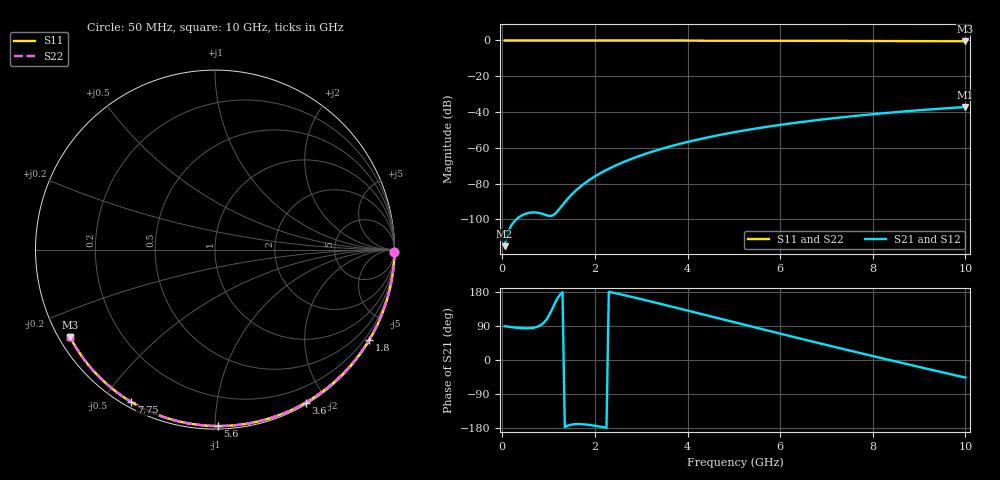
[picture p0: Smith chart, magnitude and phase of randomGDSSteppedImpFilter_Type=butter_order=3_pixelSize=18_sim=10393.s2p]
! freq	dB(S11)	phase(S11)	dB(S12)	phase(S12)
!  dB(S21)	phase(S21)	dB(S22)	phase(S22)
!S-par simulation data
#  GHz  S  DB  R 50
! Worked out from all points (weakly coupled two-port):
!   200 points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, 50 MHz to 10 GHz, reference 50 ohm
!   highest |S21| = -37.20 dB at 10 GHz (marker M1); lowest = -115.0 dB at 50 MHz (marker M2)
!   lowest |S11| = -0.5 dB at 10 GHz (marker M3), VSWR 34.40, Z = 1.57 - j14 ohm
!   |S11| at or under -10 dB: nowhere
!   |S22| runs from -0.5 to 0.0 dB; largest |S21 - S12| = 0
!   S11 on the Smith chart (normalised r, x): 50 MHz: open; 1.8 GHz: 0.03, -3.68; 3.6 GHz: 0.02, -1.76; 5.6 GHz: 0.02, -1.01; 7.75 GHz: 0.02, -0.59; 10 GHz: 0.03, -0.28
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0.05  -0.00 -0.9  -114.98 89.1  -114.98 89.1  -0.00 -0.9
0.45  -0.01 -7.7  -97.41 83.7  -97.41 83.7  -0.01 -7.7
0.9  -0.02 -15.4  -97.22 99.0  -97.22 99.0  -0.02 -15.4
1.3  -0.03 -22.1  -91.99 178.8  -91.99 178.8  -0.03 -22.1
1.75  -0.04 -29.6  -80.39 -169.7  -80.39 -169.7  -0.04 -29.6
1.8  -0.04 -30.4  -79.42 -170.2  -79.42 -170.2  -0.04 -30.4
1.95  -0.04 -32.9  -76.78 -172.5  -76.78 -172.5  -0.04 -32.9
2.1  -0.05 -35.4  -74.46 -175.5  -74.46 -175.5  -0.05 -35.4
2.3  -0.05 -38.6  -71.70 179.8  -71.70 179.8  -0.05 -38.6
2.5  -0.05 -41.9  -69.27 174.7  -69.27 174.7  -0.05 -41.9
2.9  -0.06 -48.3  -65.11 163.5  -65.11 163.5  -0.06 -48.3
3.4  -0.07 -56.2  -60.87 148.7  -60.87 148.7  -0.07 -56.2
3.6  -0.08 -59.3  -59.39 142.7  -59.39 142.7  -0.08 -59.3
4.3  -0.10 -70.1  -54.93 121.3  -54.93 121.3  -0.10 -70.1
5.05  -0.12 -81.2  -51.09 98.4  -51.09 98.4  -0.12 -81.2
5.6  -0.15 -89.1  -48.72 81.6  -48.72 81.6  -0.15 -89.1
6.15  -0.17 -96.9  -46.64 65.0  -46.64 65.0  -0.17 -96.9
6.7  -0.20 -104.6  -44.80 48.6  -44.80 48.6  -0.20 -104.5
7.75  -0.28 -118.8  -41.83 17.6  -41.83 17.6  -0.28 -118.8
8.35  -0.33 -126.8  -40.39 0.3  -40.39 0.3  -0.33 -126.8
9.2  -0.41 -138.1  -38.62 -24.0  -38.62 -24.0  -0.41 -138.1
10  -0.51 -148.8  -37.20 -46.4  -37.20 -46.4  -0.50 -148.8
